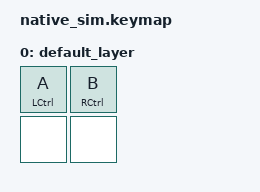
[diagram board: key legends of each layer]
#include <dt-bindings/zmk/keys.h>
#include <behaviors.dtsi>
#include <dt-bindings/zmk/input_mock.h>

&mt {
    flavor = "hold-preferred";
};

/* This test verifies that hold-tap keys can observe
 * events which were released from combos.
 */
/ {
    combos {
        compatible = "zmk,combos";
        combo_one {
            timeout-ms = <100>;
            key-positions = <0 2>;
            bindings = <&kp Y>;
        };
        combo_two {
            timeout-ms = <100>;
            key-positions = <1 3>;
            bindings = <&kp Z>;
        };
    };

    keymap {
        compatible = "zmk,keymap";

        default_layer {
            bindings = <
            &mt LEFT_CONTROL A &mt RIGHT_CONTROL B
            &none &none
            >;
        };
    };
};

&mock_input {
    events = <
    ZMK_INPUT_MOCK_PRESS(0,0,0)
    ZMK_INPUT_MOCK_PRESS(0,1,300)
    >;
};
